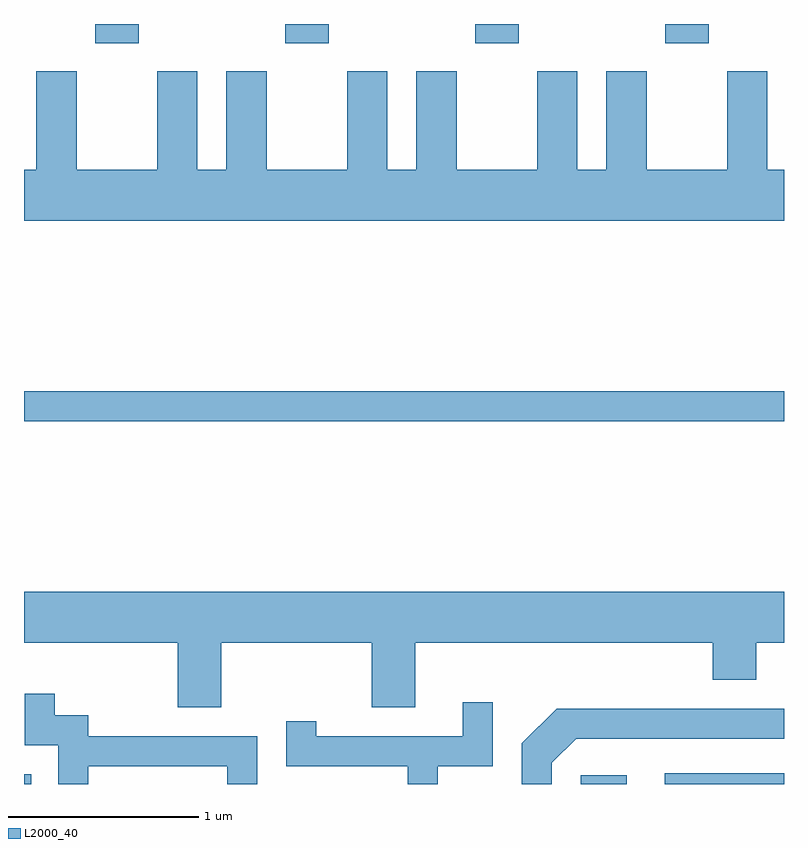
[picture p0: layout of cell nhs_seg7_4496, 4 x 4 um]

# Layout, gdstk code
import gdstk
lib = gdstk.Library(unit=1e-6, precision=1e-09)
def R(c, l, rs):  # rectangles x0, y0, x1, y1
    for r in rs: c.add(gdstk.rectangle(r[:2], r[2:], *l))
def A(c, l, x, y, w, h, nx, ny, dx, dy):  # array of equal rectangles
    R(c, l, [(x+i*dx, y+j*dy, x+i*dx+w, y+j*dy+h) for i in range(nx) for j in range(ny)])
def P(c, l, *ps):  # polygons
    for p in ps: c.add(gdstk.Polygon(p, *l))
L2000_40 = (2000, 40)

nhs_seg7_4496 = lib.new_cell('nhs_seg7_4496')
A(nhs_seg7_4496, L2000_40, 323.986, 1704.151, 0.228, 0.101, 4, 1, 1, 0)
R(nhs_seg7_4496, L2000_40, [(323.611,1700.252,323.648,1700.304), (326.541,1700.252,326.783,1700.299), (326.983,1700.252,327.611,1700.309), (323.611,1702.161,327.611,1702.319)])
P(nhs_seg7_4496, L2000_40, [(324.676,1704.004),(324.676,1703.484),(324.524,1703.484),(324.524,1704.004),(324.311,1704.004),(324.311,1703.484),(323.889,1703.484),(323.889,1704.004),(323.676,1704.004),(323.676,1703.484),(323.611,1703.484),(323.611,1703.216),(327.611,1703.216),(327.611,1703.484),(327.524,1703.484),(327.524,1704.004),(327.311,1704.004),(327.311,1703.484),(326.889,1703.484),(326.889,1704.004),(326.676,1704.004),(326.676,1703.484),(326.524,1703.484),(326.524,1704.004),(326.311,1704.004),(326.311,1703.484),(325.889,1703.484),(325.889,1704.004),(325.676,1704.004),(325.676,1703.484),(325.524,1703.484),(325.524,1704.004),(325.311,1704.004),(325.311,1703.484),(324.889,1703.484),(324.889,1704.004)],
  [(324.649,1700.996),(325.441,1700.996),(325.441,1700.656),(325.669,1700.656),(325.669,1700.996),(327.236,1700.996),(327.236,1700.801),(327.464,1700.801),(327.464,1700.996),(327.611,1700.996),(327.611,1701.264),(323.611,1701.264),(323.611,1700.996),(324.421,1700.996),(324.421,1700.656),(324.649,1700.656)],
  [(323.949,1700.346),(324.681,1700.346),(324.681,1700.252),(324.839,1700.252),(324.839,1700.504),(323.949,1700.504),(323.949,1700.614),(323.774,1700.614),(323.774,1700.728),(323.616,1700.728),(323.616,1700.456),(323.791,1700.456),(323.791,1700.252),(323.949,1700.252)],
  [(325.789,1700.346),(326.079,1700.346),(326.079,1700.683),(325.921,1700.683),(325.921,1700.504),(325.149,1700.504),(325.149,1700.583),(324.991,1700.583),(324.991,1700.346),(325.631,1700.346),(325.631,1700.252),(325.789,1700.252)],
  [(326.389,1700.364),(326.517,1700.491),(327.611,1700.491),(327.611,1700.649),(326.414,1700.649),(326.231,1700.467),(326.231,1700.252),(326.389,1700.252)])

lib.write_gds('nhs_seg7_4496.gds')
